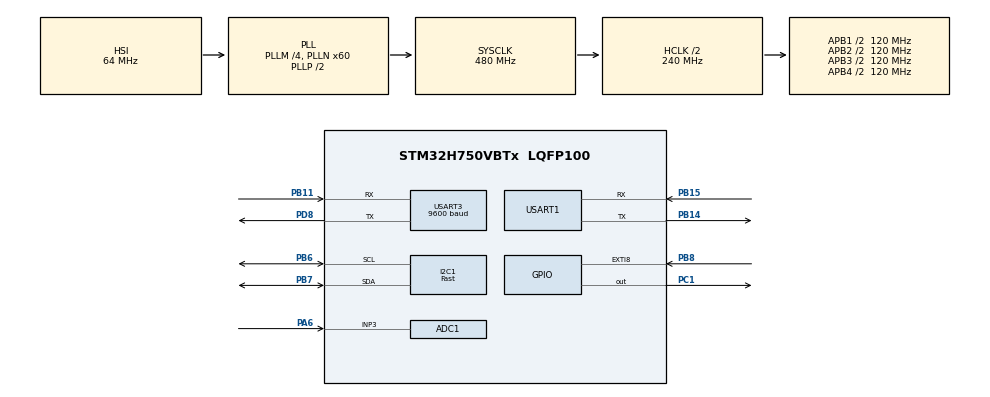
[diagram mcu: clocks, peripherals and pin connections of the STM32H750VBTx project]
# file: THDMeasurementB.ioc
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ADC1.Channel-0\#ChannelRegularConversion=ADC_CHANNEL_3
ADC1.ContinuousConvMode=DISABLE
ADC1.ConversionDataManagement=ADC_CONVERSIONDATA_DMA_CIRCULAR
ADC1.ExternalTrigConv=ADC_EXTERNALTRIG_T2_TRGO
ADC1.NbrOfConversionFlag=1
ADC1.OffsetNumber-0\#ChannelRegularConversion=ADC_OFFSET_NONE
ADC1.OffsetSignedSaturation-0\#ChannelRegularConversion=DISABLE
ADC1.OversamplingMode=DISABLE
ADC1.Rank-0\#ChannelRegularConversion=1
ADC1.Ratio=1
ADC1.Resolution=ADC_RESOLUTION_14B
ADC1.SamplingTime-0\#ChannelRegularConversion=ADC_SAMPLETIME_1CYCLE_5
ADC1.master=1
CORTEX_M7.default_mode_Activation=1
Dma.ADC1.2.Direction=DMA_PERIPH_TO_MEMORY
Dma.ADC1.2.EventEnable=DISABLE
Dma.ADC1.2.FIFOMode=DMA_FIFOMODE_DISABLE
Dma.ADC1.2.Instance=DMA1_Stream2
Dma.ADC1.2.MemDataAlignment=DMA_MDATAALIGN_HALFWORD
Dma.ADC1.2.MemInc=DMA_MINC_ENABLE
Dma.ADC1.2.Mode=DMA_CIRCULAR
Dma.ADC1.2.PeriphDataAlignment=DMA_PDATAALIGN_HALFWORD
Dma.ADC1.2.PeriphInc=DMA_PINC_DISABLE
Dma.ADC1.2.Polarity=HAL_DMAMUX_REQ_GEN_RISING
Dma.ADC1.2.Priority=DMA_PRIORITY_LOW
Dma.ADC1.2.RequestNumber=1
Dma.ADC1.2.SignalID=NONE
Dma.ADC1.2.SyncEnable=DISABLE
Dma.ADC1.2.SyncPolarity=HAL_DMAMUX_SYNC_NO_EVENT
Dma.ADC1.2.SyncRequestNumber=1
Dma.ADC1.2.SyncSignalID=NONE
Dma.Request0=USART3_TX
Dma.Request1=USART3_RX
Dma.Request2=ADC1
Dma.Request3=USART1_TX
Dma.USART1_TX.3.Direction=DMA_MEMORY_TO_PERIPH
Dma.USART1_TX.3.EventEnable=DISABLE
Dma.USART1_TX.3.FIFOMode=DMA_FIFOMODE_DISABLE
Dma.USART1_TX.3.Instance=DMA1_Stream3
Dma.USART1_TX.3.MemDataAlignment=DMA_MDATAALIGN_BYTE
Dma.USART1_TX.3.MemInc=DMA_MINC_ENABLE
Dma.USART1_TX.3.Mode=DMA_NORMAL
Dma.USART1_TX.3.PeriphDataAlignment=DMA_PDATAALIGN_BYTE
Dma.USART1_TX.3.PeriphInc=DMA_PINC_DISABLE
Dma.USART1_TX.3.Polarity=HAL_DMAMUX_REQ_GEN_RISING
Dma.USART1_TX.3.Priority=DMA_PRIORITY_LOW
Dma.USART1_TX.3.RequestNumber=1
Dma.USART1_TX.3.SignalID=NONE
Dma.USART1_TX.3.SyncEnable=DISABLE
Dma.USART1_TX.3.SyncPolarity=HAL_DMAMUX_SYNC_NO_EVENT
Dma.USART1_TX.3.SyncRequestNumber=1
Dma.USART1_TX.3.SyncSignalID=NONE
Dma.USART3_RX.1.Direction=DMA_PERIPH_TO_MEMORY
Dma.USART3_RX.1.EventEnable=DISABLE
Dma.USART3_RX.1.FIFOMode=DMA_FIFOMODE_DISABLE
Dma.USART3_RX.1.Instance=DMA1_Stream1
Dma.USART3_RX.1.MemDataAlignment=DMA_MDATAALIGN_BYTE
Dma.USART3_RX.1.MemInc=DMA_MINC_ENABLE
Dma.USART3_RX.1.Mode=DMA_CIRCULAR
Dma.USART3_RX.1.PeriphDataAlignment=DMA_PDATAALIGN_BYTE
Dma.USART3_RX.1.PeriphInc=DMA_PINC_DISABLE
Dma.USART3_RX.1.Polarity=HAL_DMAMUX_REQ_GEN_RISING
Dma.USART3_RX.1.Priority=DMA_PRIORITY_LOW
Dma.USART3_RX.1.RequestNumber=1
Dma.USART3_RX.1.SignalID=NONE
Dma.USART3_RX.1.SyncEnable=DISABLE
Dma.USART3_RX.1.SyncPolarity=HAL_DMAMUX_SYNC_NO_EVENT
Dma.USART3_RX.1.SyncRequestNumber=1
Dma.USART3_RX.1.SyncSignalID=NONE
Dma.USART3_TX.0.Direction=DMA_MEMORY_TO_PERIPH
Dma.USART3_TX.0.EventEnable=DISABLE
Dma.USART3_TX.0.FIFOMode=DMA_FIFOMODE_DISABLE
Dma.USART3_TX.0.Instance=DMA1_Stream0
Dma.USART3_TX.0.MemDataAlignment=DMA_MDATAALIGN_BYTE
Dma.USART3_TX.0.MemInc=DMA_MINC_ENABLE
Dma.USART3_TX.0.Mode=DMA_CIRCULAR
Dma.USART3_TX.0.PeriphDataAlignment=DMA_PDATAALIGN_BYTE
Dma.USART3_TX.0.PeriphInc=DMA_PINC_DISABLE
Dma.USART3_TX.0.Polarity=HAL_DMAMUX_REQ_GEN_RISING
Dma.USART3_TX.0.Priority=DMA_PRIORITY_LOW
Dma.USART3_TX.0.RequestNumber=1
Dma.USART3_TX.0.SignalID=NONE
Dma.USART3_TX.0.SyncEnable=DISABLE
Dma.USART3_TX.0.SyncPolarity=HAL_DMAMUX_SYNC_NO_EVENT
Dma.USART3_TX.0.SyncRequestNumber=1
Dma.USART3_TX.0.SyncSignalID=NONE
I2C1.I2C_Speed_Mode=I2C_Fast
I2C1.Timing=0x00B03FDB
Mcu.Family=STM32H7
Mcu.Name=STM32H750VBTx
Mcu.Package=LQFP100
NVIC.ADC_IRQn=true\:0\:0\:false\:false\:true\:true\:true\:true
NVIC.DMA1_Stream0_IRQn=true\:0\:0\:false\:false\:true\:false\:true\:true
NVIC.DMA1_Stream1_IRQn=true\:0\:0\:false\:false\:true\:false\:true\:true
NVIC.DMA1_Stream2_IRQn=true\:0\:0\:false\:false\:true\:false\:true\:true
NVIC.DMA1_Stream3_IRQn=true\:0\:0\:false\:false\:true\:false\:true\:true
NVIC.EXTI9_5_IRQn=true\:0\:0\:false\:false\:true\:true\:true\:true
NVIC.PriorityGroup=NVIC_PRIORITYGROUP_4
NVIC.TIM3_IRQn=true\:0\:0\:false\:false\:true\:true\:true\:true
NVIC.TIM7_IRQn=true\:0\:0\:false\:false\:true\:true\:true\:true
NVIC.USART1_IRQn=true\:0\:0\:false\:false\:true\:true\:true\:true
NVIC.USART3_IRQn=true\:0\:0\:false\:false\:true\:true\:true\:true
PA13\ (JTMS/SWDIO).Mode=Serial_Wire
PA13\ (JTMS/SWDIO).Signal=DEBUG_JTMS-SWDIO
PA14\ (JTCK/SWCLK).Mode=Serial_Wire
PA14\ (JTCK/SWCLK).Signal=DEBUG_JTCK-SWCLK
PA6.Signal=ADCx_INP3
PB11.Mode=Asynchronous
PB11.Signal=USART3_RX
PB14.Mode=Asynchronous
PB14.Signal=USART1_TX
PB15.Mode=Asynchronous
PB15.Signal=USART1_RX
PB6.Mode=I2C
PB6.Signal=I2C1_SCL
PB7.Mode=I2C
PB7.Signal=I2C1_SDA
PB8.GPIO_ModeDefaultEXTI=GPIO_MODE_IT_FALLING
PB8.GPIO_PuPd=GPIO_PULLUP
PB8.Signal=GPXTI8
PC1.GPIO_ModeDefaultOutputPP=GPIO_MODE_OUTPUT_OD
PC1.GPIO_PuPd=GPIO_NOPULL
PC1.PinState=GPIO_PIN_RESET
PC1.Signal=GPIO_Output
PD8.Mode=Asynchronous
PD8.Signal=USART3_TX
PH0-OSC_IN\ (PH0).Mode=HSE-External-Oscillator
PH0-OSC_IN\ (PH0).Signal=RCC_OSC_IN
PH1-OSC_OUT\ (PH1).Mode=HSE-External-Oscillator
PH1-OSC_OUT\ (PH1).Signal=RCC_OSC_OUT
ProjectManager.HeapSize=0x400
ProjectManager.StackSize=0x1000
ProjectManager.TargetToolchain=MDK-ARM V5.32
RCC.ADCFreq_Value=40000000
RCC.APB1Freq_Value=120000000
RCC.APB2Freq_Value=120000000
RCC.APB3Freq_Value=120000000
RCC.APB4Freq_Value=120000000
RCC.CortexFreq_Value=480000000
RCC.D1PPRE=RCC_APB3_DIV2
RCC.D2PPRE1=RCC_APB1_DIV2
RCC.D2PPRE2=RCC_APB2_DIV2
RCC.D3PPRE=RCC_APB4_DIV2
RCC.DIVM1=4
RCC.DIVM2=4
RCC.DIVN1=60
RCC.DIVN2=10
RCC.DIVP2=4
RCC.HCLKFreq_Value=240000000
RCC.HPRE=RCC_HCLK_DIV2
RCC.HSE_VALUE=25000000
RCC.PLL2FRACN=0
RCC.PLL3FRACN=0
RCC.PLLFRACN=0
RCC.SYSCLKFreq_VALUE=480000000
RCC.SYSCLKSource=RCC_SYSCLKSOURCE_PLLCLK
RCC.USBFreq_Value=480000000
SH.ADCx_INP3.0=ADC1_INP3,IN3-Single-Ended
TIM2.AutoReloadPreload=TIM_AUTORELOAD_PRELOAD_ENABLE
TIM2.Channel-Output\ Compare1\ No\ Output=TIM_CHANNEL_1
TIM2.Period=120-1
TIM2.Prescaler=0
TIM2.TIM_MasterOutputTrigger=TIM_TRGO_UPDATE
TIM3.AutoReloadPreload=TIM_AUTORELOAD_PRELOAD_ENABLE
TIM3.Period=25000
TIM3.Prescaler=240-1
TIM7.Period=20000-1
TIM7.Prescaler=240-1
USART1.VirtualMode-Asynchronous=VM_ASYNC
USART3.BaudRate=9600
USART3.VirtualMode-Asynchronous=VM_ASYNC
VP_MEMORYMAP_VS_MEMORYMAP.Mode=CurAppReg
VP_TIM2_VS_ClockSourceINT.Mode=Internal
VP_TIM2_VS_no_output1.Mode=Output Compare1 No Output
VP_TIM3_VS_ClockSourceINT.Mode=Internal
VP_TIM7_VS_ClockSourceINT.Mode=Enable_Timer
board=custom

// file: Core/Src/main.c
/* USER CODE BEGIN Header */
/**
  ******************************************************************************
  * @file           : main.c
  * @brief          : Main program body
  ******************************************************************************
  * @attention
  *
  * Copyright (c) 2025 STMicroelectronics.
  * All rights reserved.
  *
  * This software is licensed under terms that can be found in the LICENSE file
  * in the root directory of this software component.
  * If no LICENSE file comes with this software, it is provided AS-IS.
  *
  ******************************************************************************
  */
/* USER CODE END Header */
#include "main.h"
#include "adc.h"
#include "dma.h"
#include "i2c.h"
#include "tim.h"
#include "usart.h"
#include "gpio.h"

/* USER CODE BEGIN Includes */
#include "arm_math.h"
#include "arm_const_structs.h"
#include "string.h"
#include "stdio.h"
#include "valuepack.h"
#include "stdint.h"
#include "oled.h"
#include "stdlib.h"
#include <stdint.h>
/* USER CODE END Includes */

/* USER CODE BEGIN PTD */
#define LEN 4096
float SAMPLE_RATE = 2000000;
#define M_PI 3.14159265358979323846f

#define MAX_FFT_POINTS 4096
__attribute__((aligned(8))) static float32_t fft_input[2 * MAX_FFT_POINTS];
__attribute__((aligned(8))) static float32_t power_spectrum[MAX_FFT_POINTS];
/* USER CODE END PTD */

/* USER CODE BEGIN PV */
uint16_t period = 25;
uint16_t adc_buf[LEN];
uint16_t adc_test1[LEN];
uint16_t adc_test2[LEN];
uint16_t adc_test3[LEN];
float windowed_buf[LEN];

//float fft_input[LEN * 2];
float fft_mag[LEN]; //????
arm_rfft_fast_instance_f32 fft_instance;

float THD = 0.0f;				//???
float adc_norm[LEN]; 			//?????
uint32_t fund_index;			//????
float fund_freq;
float32_t fund_value;			//????
float harm_power = 0;			//???

volatile uint8_t adc_ready = 0;	//???
float unify_mag[5];
uint8_t send_flag = 0;
uint16_t adc_sent[25];
uint8_t SampleMode = 0;

/* USER CODE END PV */

void SystemClock_Config(void);
static void MPU_Config(void);

/* USER CODE BEGIN 0 */

//串口重定向
int fputc(int ch,FILE *f)
{
HAL_UART_Transmit(&huart1,(uint8_t *)&ch,1,HAL_MAX_DELAY);
return ch;
}
int fgetc(FILE *f)
{
uint8_t ch;
HAL_UART_Receive( &huart1,(uint8_t*)&ch,1, HAL_MAX_DELAY );
return ch;
}
//----------平顶窗------------
float a0 = 1;
float a1 = 1.93;
float a2 = 1.29;
float a3 = 0.388;
float a4 = 0.028;
float windowing[LEN];
void genarate_windowing(){
	for(int i = 0; i < LEN; i++) {
    windowing[i] = a0
                 - a1 * cosf(2 * PI * i / (LEN - 1))
                 + a2 * cosf(4 * PI * i / (LEN - 1))
                 - a3 * cosf(6 * PI * i / (LEN - 1))
				 + a4 * cosf(8 * PI * i / (LEN - 1));
	}
}
//捕捉波形函数
// 找第一个峰值索引
uint16_t start;
int find_first_peak(float *buf, int len) {
    for(int i=1;i<len-1;i++){
        if(buf[i] > buf[i-1] && buf[i] > buf[i+1]){
            return i;
        }
    }
    return 0; // 没找到峰值就从0开始
}

//能量重心法
float32_t freq_est;
float prev_freq_est;
float32_t amp_est;
void ImprovedFFT_EnergyCentroid(uint16_t *adc_data, uint32_t fs, uint16_t N,
                               float32_t *freq_est, float32_t *amp_est)
{
//    float32_t sum = 0;
//    for (uint16_t i = 0; i < N; i++) {
//        // ADC转换 (12-bit ADC, 3.3V参考电压)
//        float32_t sample = adc_data[i] * 3.3f / 4096.0f;
//        sum += sample;
//        fft_input[2*i] = sample;  // 实部
//        fft_input[2*i+1] = 0;     // 虚部
//    }
//    // 去除直流偏置
//    float32_t mean = sum / N;
//    for (uint16_t i = 0; i < N; i++) {
//        fft_input[2*i] -= mean;
//    }
    // 1. 时域加汉宁窗
    for (uint16_t i = 0; i < N; i++) {
        // 汉宁窗函数: w(n) = 0.5 - 0.5*cos(2πn/N)
        float32_t window = 0.5f - 0.5f * arm_cos_f32(2 * PI * i / (N-1));
        fft_input[2*i] = fft_input[2*i] * window;  // 实部
        fft_input[2*i+1] = 0;              // 虚部
    }
    // 2. 执行FFT
    arm_cfft_instance_f32 cfft_inst;
    arm_cfft_init_f32(&cfft_inst, N);
    arm_cfft_f32(&cfft_inst, fft_input, 0, 1);
    // 3. 计算功率谱 (|X(k)|²)
    for (uint16_t k = 0; k < N; k++) {
        float32_t real = fft_input[2*k];
        float32_t imag = fft_input[2*k+1];
        power_spectrum[k] = real*real + imag*imag;
    }
    // 4. 寻找主瓣峰值位置 (只搜索正频率)
    uint32_t l0 = 1;
    float32_t max_power = power_spectrum[1];
    for (uint16_t k = 2; k < N/2; k++) {
        if (power_spectrum[k] > max_power) {
            max_power = power_spectrum[k];
            l0 = k;
        }
    }
    // 5. 计算矩形窗FFT（用于相位差计算）
    __attribute__((aligned(8))) static float32_t rect_fft[2 * MAX_FFT_POINTS];
    for (uint16_t i = 0; i < N; i++) {
        float32_t sample = adc_data[i] * 3.3f / 4096.0f;
        rect_fft[2*i] = sample;  // 已去直流
        rect_fft[2*i+1] = 0;
    }
    arm_cfft_f32(&cfft_inst, rect_fft, 0, 1);
//——————————————————————————————————————————————————————————————————//

    // 6. 计算相位差指标 (式16)
    float32_t X_l0_real = rect_fft[2*l0];
    float32_t X_l0_imag = rect_fft[2*l0+1];

    // 安全边界处理
    uint16_t idx_m1 = (l0 == 0) ? N-1 : l0-1;
    uint16_t idx_p1 = (l0 == N-1) ? 0 : l0+1;

    // R(-1) = Re[X_rect(l0-1) * conj(X_rect(l0))]
    float32_t X_m1_real = rect_fft[2*idx_m1];
    float32_t X_m1_imag = rect_fft[2*idx_m1+1];
    float32_t R_m1 = X_m1_real * X_l0_real + X_m1_imag * X_l0_imag;  // Re[AB*]

    // R(+1) = Re[X_rect(l0+1) * conj(X_rect(l0))]
    float32_t X_p1_real = rect_fft[2*idx_p1];
    float32_t X_p1_imag = rect_fft[2*idx_p1+1];
    float32_t R_p1 = X_p1_real * X_l0_real + X_p1_imag * X_l0_imag;

    // 7. 计算频偏δ (式18)
    float32_t delta;
    uint16_t idx_m2 = (l0 < 2) ? (N + l0 - 2) % N : l0 - 2;
    uint16_t idx_p2 = (l0 > N-3) ? (l0 + 2) % N : l0 + 2;

    if (R_p1 < 0 && R_m1 > 0) {
        // 次大谱线在右侧 (式4)
        float32_t Y0 = power_spectrum[l0];
        float32_t Ym1 = power_spectrum[idx_m1];
        float32_t Yp1 = power_spectrum[idx_p1];
        float32_t Yp2 = power_spectrum[idx_p2];

        delta = (Yp1 + 2*Yp2 - Ym1) / (Ym1 + Y0 + Yp1 + Yp2);
    }
    else if (R_p1 > 0 && R_m1 < 0) {
        // 次大谱线在左侧 (式5)
        float32_t Y0 = power_spectrum[l0];
        float32_t Ym1 = power_spectrum[idx_m1];
        float32_t Ym2 = power_spectrum[idx_m2];
        float32_t Yp1 = power_spectrum[idx_p1];

        delta = (Yp1 - Ym1 - 2*Ym2) / (Ym2 + Ym1 + Y0 + Yp1);
    }
    else {
        // 取两种估计的平均值 (论文式18)
        float32_t Y0 = power_spectrum[l0];
        float32_t Ym1 = power_spectrum[idx_m1];
        float32_t Ym2 = power_spectrum[idx_m2];
        float32_t Yp1 = power_spectrum[idx_p1];
        float32_t Yp2 = power_spectrum[idx_p2];

        float32_t delta1 = (Yp1 + 2*Yp2 - Ym1) / (Ym1 + Y0 + Yp1 + Yp2);
        float32_t delta2 = (Yp1 - Ym1 - 2*Ym2) / (Ym2 + Ym1 + Y0 + Yp1);
        delta = 0.5f * (delta1 + delta2);
    }

    // 8. 频率估计 f = (l0 + δ) * (fs / N)
    *freq_est = (l0 + delta) * (fs / (float32_t)N);

    // 9. 精确幅值校准 (汉宁窗恢复系数)
    // |A| = 2 * sqrt(|X(k)|²) / (0.5 * N * S_w)
    // 汉宁窗相干增益 S_w = 0.5
    *amp_est = 2.0f * sqrtf(max_power) / (0.5f * N * 0.5f);
}

//ADC回调
void HAL_ADC_ConvCpltCallback(ADC_HandleTypeDef *hadc){
	 if(hadc->Instance == ADC1 )
		{
			HAL_ADC_Stop_DMA(&hadc1);
			adc_ready = 1;
		}
}
//按键回调
void HAL_GPIO_EXTI_Callback(uint16_t GPIO_Pin){
	if(GPIO_Pin == GPIO_PIN_8){
		HAL_TIM_Base_Start_IT(&htim7);
	}
}

//定时器蓝牙显示
unsigned char tx_buffer[25];
int f =0;
void HAL_TIM_PeriodElapsedCallback(TIM_HandleTypeDef *htim)
{
    if (htim->Instance == TIM3) // 判断是哪个定时器
    {
		if(send_flag == 1){
			startValuePack(tx_buffer);
			putShort(adc_sent[f]);
			putFloat(unify_mag[1]);
			putFloat(unify_mag[2]);
			putFloat(unify_mag[3]);
			putFloat(unify_mag[4]);
			putFloat(THD);
			putFloat(freq_est);
			f++;
			if(f >= period-1) {
				f = 0;
				send_flag = 0;
			}
			HAL_UART_Transmit(&huart3, tx_buffer, endValuePack(), HAL_MAX_DELAY);
		}
    }
	if (htim->Instance == TIM7) // 按键消抖20Ms
    {
		HAL_TIM_Base_Stop_IT(&htim7);
		start = find_first_peak((float*)adc_buf, LEN);
		for(int i = 0; i<period; i++){
			adc_sent[i] = adc_buf[start + i];
		}
		for(int i = 0; i<period; i++){
			printf("%d\r\n", adc_sent[i]);
		}
		send_flag = 1;
	}
}

/* USER CODE END 0 */

int main(void)
{

  /* MPU Configuration--------------------------------------------------------*/
  MPU_Config();

  /* MCU Configuration--------------------------------------------------------*/

  /* Reset of all peripherals, Initializes the Flash interface and the Systick. */
  HAL_Init();

  /* Configure the system clock */
  SystemClock_Config();

  /* Initialize all configured peripherals */
  MX_GPIO_Init();
  MX_DMA_Init();
  MX_ADC1_Init();
  MX_I2C1_Init();
  MX_TIM2_Init();
  MX_USART1_UART_Init();
  MX_USART3_UART_Init();
  MX_TIM3_Init();
  MX_TIM7_Init();
  /* USER CODE BEGIN 2 */
	HAL_TIM_Base_Start_IT(&htim3);
	HAL_ADC_Start_DMA(&hadc1, (uint32_t*)adc_buf, LEN);
	HAL_TIM_Base_Start(&htim2);

	unify_mag[0] = 1.0f;
	genarate_windowing();
	HAL_Delay(20);

  /* USER CODE END 2 */

  /* Infinite loop */
  /* USER CODE BEGIN WHILE */
  while (1)
  {
		if(adc_ready){
		adc_ready = 0;

		//一个周期采样period个点
		start = find_first_peak((float*)adc_buf, LEN);
		for(int i = 0; i<period; i++){
			adc_sent[i] = adc_buf[start + i];
		}

//归一化，去直流对于这个项目不适用， 更加不准
		//增幅
		for(int i = 0; i<LEN; i++){
			adc_norm[i] = adc_buf[i]*15;
		}

		//加窗
		for(int i = 0; i < LEN; i++) {
			float w = 0.5f * (1.0f - cosf(2.0f * PI * i / (LEN - 1)));//汉宁窗
			windowed_buf[i] = adc_norm[i] * w;
		}

		// fft填数
		for (int i = 0; i < LEN; i++) {
			fft_input[2*i]   = windowed_buf[i];  //
			fft_input[2*i+1] = 0.0f;         //
		}
		//汉宁窗fft计算
		const arm_cfft_instance_f32 *cfft_struct = &arm_cfft_sR_f32_len4096;
		arm_cfft_f32(cfft_struct, fft_input, 0, 1);
		arm_cmplx_mag_f32(fft_input, fft_mag, LEN);

		for(int i =0; i<LEN; i++){
			adc_test3[i] = fft_mag[i];
		}
		//寻找主瓣峰值位置
//		int start_bin = (int)((1000.0f * LEN) / SAMPLE_RATE);
//		if (start_bin < 1) start_bin = 1;
//		int end_bin   = LEN/2;
		fund_value = 0;
		fund_index = 1;
		for (int k = 2; k < LEN/2; k++) {
				if (fft_mag[k] > fund_value){
					fund_value = fft_mag[k];
					fund_index = k;
				}
		}

		// 5. 计算矩形窗FFT（用于相位差计算）
		__attribute__((aligned(8))) static float32_t rect_fft[2 * MAX_FFT_POINTS];
		for (uint16_t i = 0; i < LEN; i++) {
			rect_fft[2*i] = adc_buf[i];
			rect_fft[2*i+1] = 0;
		}
		arm_cfft_f32(cfft_struct, rect_fft, 0, 1);

//		// 抛物线插值
//		float alpha = fft_mag[fund_index - 1];
//		float beta  = fft_mag[fund_index];
//		float gamma = fft_mag[fund_index + 1];
//		float delta = 0.5f * (alpha - gamma) / (alpha - 2*beta + gamma);
//		float fund_bin = fund_index + delta;
//		fund_freq = fund_bin * SAMPLE_RATE / LEN;

		// 6. 计算相位差指标 (式16)
		float32_t X_l0_real = rect_fft[2*fund_index];
		float32_t X_l0_imag = rect_fft[2*fund_index+1];

		// 安全边界处理
		uint16_t idx_m1 = (fund_index == 0) ? LEN-1 : fund_index-1;
		uint16_t idx_p1 = (fund_index == LEN-1) ? 0 : fund_index+1;

		// R(-1) = Re[X_rect(l0-1) * conj(X_rect(l0))]
		float32_t X_m1_real = rect_fft[2*idx_m1];
		float32_t X_m1_imag = rect_fft[2*idx_m1+1];
		float32_t R_m1 = X_m1_real * X_l0_real + X_m1_imag * X_l0_imag;  // Re[AB*]

		// R(+1) = Re[X_rect(fund_index+1) * conj(X_rect(fund_index))]
		float32_t X_p1_real = rect_fft[2*idx_p1];
		float32_t X_p1_imag = rect_fft[2*idx_p1+1];
		float32_t R_p1 = X_p1_real * X_l0_real + X_p1_imag * X_l0_imag;

		// 7. 计算频偏δ (式18)
		float32_t delta;
		uint16_t idx_m2 = (fund_index < 2) ? (LEN + fund_index - 2) % LEN : fund_index - 2;
		uint16_t idx_p2 = (fund_index > LEN-3) ? (fund_index + 2) % LEN : fund_index + 2;

		if (R_p1 < 0 && R_m1 > 0) {
			// 次大谱线在右侧 (式4)
			float32_t Y0 = fft_mag[fund_index];
			float32_t Ym1 = fft_mag[idx_m1];
			float32_t Yp1 = fft_mag[idx_p1];
			float32_t Yp2 = fft_mag[idx_p2];

			delta = (Yp1 + 2*Yp2 - Ym1) / (Ym1 + Y0 + Yp1 + Yp2);
		}
		else if (R_p1 > 0 && R_m1 < 0) {
			// 次大谱线在左侧 (式5)
			float32_t Y0 = fft_mag[fund_index];
			float32_t Ym1 = fft_mag[idx_m1];
			float32_t Ym2 = fft_mag[idx_m2];
			float32_t Yp1 = fft_mag[idx_p1];

			delta = (Yp1 - Ym1 - 2*Ym2) / (Ym2 + Ym1 + Y0 + Yp1);
		}
		else {
			// 取两种估计的平均值 (论文式18)
			float32_t Y0 = fft_mag[fund_index];
			float32_t Ym1 = fft_mag[idx_m1];
			float32_t Ym2 = fft_mag[idx_m2];
			float32_t Yp1 = fft_mag[idx_p1];
			float32_t Yp2 = fft_mag[idx_p2];

			float32_t delta1 = (Yp1 + 2*Yp2 - Ym1) / (Ym1 + Y0 + Yp1 + Yp2);
			float32_t delta2 = (Yp1 - Ym1 - 2*Ym2) / (Ym2 + Ym1 + Y0 + Yp1);
			delta = 0.5f * (delta1 + delta2);
		}

		// 8. 频率估计 f = (fund_index + δ) * (fs / N)
		freq_est = (fund_index + delta) * (SAMPLE_RATE / (float32_t)LEN);

		// 9. 精确幅值校准 (汉宁窗恢复系数)
		// |A| = 2 * sqrt(|X(k)|²) / (0.5 * N * S_w)
		// 汉宁窗相干增益 S_w = 0.5
		amp_est = 2.0f * sqrtf(fund_value) / (0.5f * LEN * 0.5f);

		if(SampleMode == 1){
			freq_est *=26;
		}

		//动态改变采样率
		if(freq_est > (1000-100)){
			__HAL_TIM_DISABLE(&htim2);
			if(freq_est <=100000){
				period = 25;
				SAMPLE_RATE = (uint32_t)(freq_est * 25);//较低频率下，过采样一个周期采样25个点
				__HAL_TIM_SET_AUTORELOAD(&htim2, 240000000/SAMPLE_RATE -1);
				SampleMode = 0;
			}

			else{
				period = 25;
				if(fabs(prev_freq_est - freq_est)/prev_freq_est > 0.05f){
					SAMPLE_RATE = freq_est*25/26;
				}
				prev_freq_est = freq_est;

				__HAL_TIM_SET_AUTORELOAD(&htim2, 240000000/SAMPLE_RATE -1);
				SampleMode = 1;
			}
			__HAL_TIM_ENABLE(&htim2);
		}
		// 能量积分（±2 点）
		float energy = 0;
		for(int k = fund_index-2; k <= fund_index+2; k++) {
			if(k > 0 && k < LEN/2) {
				energy += fft_mag[k] * fft_mag[k];
			}
		}
		float fund_energy = sqrtf(energy);

		//找谐波,抛物线插值修正
		harm_power = 0;
		for(int h = 2; h <= 5; h++){
			float harm_bin_est = h * fund_index;
			float search_min = harm_bin_est -5;
			float search_max = harm_bin_est +5;

			float local_max = 0;
			int idx_max = harm_bin_est;

			for(int k = search_min; k <= search_max; k++){
				if(k > 0 && k < LEN/2 && fft_mag[k] > local_max){
					local_max = fft_mag[k];
					idx_max = k;
				}
			}

			float alpha = fft_mag[idx_max-1];
			float beta  = fft_mag[idx_max];
			float gamma = fft_mag[idx_max+1];
			float delta = 0.5f * (alpha - gamma) / (alpha - 2*beta + gamma);
			float harm_bin = idx_max + delta;
			float freq_est = harm_bin * SAMPLE_RATE / LEN;
			float mag_est  = beta - 0.25f * (alpha - gamma) * delta;

			//能量积分
			 energy = 0;
            for(int k = idx_max-2; k <= idx_max+2; k++) {
                if(k > 0 && k < LEN / 2) {
                    energy += fft_mag[k] * fft_mag[k];
                }
            }
            float harm_amp = sqrtf(energy);

			//归一化
			unify_mag[h-1] = harm_amp / fund_energy;
			//功率累计
			harm_power += harm_amp * harm_amp;
		}
		THD = sqrtf(harm_power) / fund_energy *100.0f;

//		for(int i = 0; i<LEN; i++){
//			printf("%d\r\n", adc_test3[i]);
//		}
//		for(int i = 0; i<LEN/2; i++){
//			printf("%d\r\n", adc_test1[i]);
//		}
		HAL_ADC_Start_DMA(&hadc1, (uint32_t*)adc_buf, LEN);
	}
    /* USER CODE END WHILE */

  }
}

void SystemClock_Config(void)
{
  RCC_OscInitTypeDef RCC_OscInitStruct = {0};
  RCC_ClkInitTypeDef RCC_ClkInitStruct = {0};

  /** Supply configuration update enable
  */
  HAL_PWREx_ConfigSupply(PWR_LDO_SUPPLY);

  /** Configure the main internal regulator output voltage
  */
  __HAL_PWR_VOLTAGESCALING_CONFIG(PWR_REGULATOR_VOLTAGE_SCALE0);

  while(!__HAL_PWR_GET_FLAG(PWR_FLAG_VOSRDY)) {}

  /** Initializes the RCC Oscillators according to the specified parameters
  * in the RCC_OscInitTypeDef structure.
  */
  RCC_OscInitStruct.OscillatorType = RCC_OSCILLATORTYPE_HSI;
  RCC_OscInitStruct.HSIState = RCC_HSI_DIV1;
  RCC_OscInitStruct.HSICalibrationValue = RCC_HSICALIBRATION_DEFAULT;
  RCC_OscInitStruct.PLL.PLLState = RCC_PLL_ON;
  RCC_OscInitStruct.PLL.PLLSource = RCC_PLLSOURCE_HSI;
  RCC_OscInitStruct.PLL.PLLM = 4;
  RCC_OscInitStruct.PLL.PLLN = 60;
  RCC_OscInitStruct.PLL.PLLP = 2;
  RCC_OscInitStruct.PLL.PLLQ = 2;
  RCC_OscInitStruct.PLL.PLLR = 2;
  RCC_OscInitStruct.PLL.PLLRGE = RCC_PLL1VCIRANGE_3;
  RCC_OscInitStruct.PLL.PLLVCOSEL = RCC_PLL1VCOWIDE;
  RCC_OscInitStruct.PLL.PLLFRACN = 0;
  if (HAL_RCC_OscConfig(&RCC_OscInitStruct) != HAL_OK)
  {
    Error_Handler();
  }

  /** Initializes the CPU, AHB and APB buses clocks
  */
  RCC_ClkInitStruct.ClockType = RCC_CLOCKTYPE_HCLK|RCC_CLOCKTYPE_SYSCLK
                              |RCC_CLOCKTYPE_PCLK1|RCC_CLOCKTYPE_PCLK2
                              |RCC_CLOCKTYPE_D3PCLK1|RCC_CLOCKTYPE_D1PCLK1;
  RCC_ClkInitStruct.SYSCLKSource = RCC_SYSCLKSOURCE_PLLCLK;
  RCC_ClkInitStruct.SYSCLKDivider = RCC_SYSCLK_DIV1;
  RCC_ClkInitStruct.AHBCLKDivider = RCC_HCLK_DIV2;
  RCC_ClkInitStruct.APB3CLKDivider = RCC_APB3_DIV2;
  RCC_ClkInitStruct.APB1CLKDivider = RCC_APB1_DIV2;
  RCC_ClkInitStruct.APB2CLKDivider = RCC_APB2_DIV2;
  RCC_ClkInitStruct.APB4CLKDivider = RCC_APB4_DIV2;

  if (HAL_RCC_ClockConfig(&RCC_ClkInitStruct, FLASH_LATENCY_4) != HAL_OK)
  {
    Error_Handler();
  }
}

 /* MPU Configuration */

void MPU_Config(void)
{
  MPU_Region_InitTypeDef MPU_InitStruct = {0};

  /* Disables the MPU */
  HAL_MPU_Disable();

  /** Initializes and configures the Region and the memory to be protected
  */
  MPU_InitStruct.Enable = MPU_REGION_ENABLE;
  MPU_InitStruct.Number = MPU_REGION_NUMBER0;
  MPU_InitStruct.BaseAddress = 0x0;
  MPU_InitStruct.Size = MPU_REGION_SIZE_4GB;
  MPU_InitStruct.SubRegionDisable = 0x87;
  MPU_InitStruct.TypeExtField = MPU_TEX_LEVEL0;
  MPU_InitStruct.AccessPermission = MPU_REGION_NO_ACCESS;
  MPU_InitStruct.DisableExec = MPU_INSTRUCTION_ACCESS_DISABLE;
  MPU_InitStruct.IsShareable = MPU_ACCESS_SHAREABLE;
  MPU_InitStruct.IsCacheable = MPU_ACCESS_NOT_CACHEABLE;
  MPU_InitStruct.IsBufferable = MPU_ACCESS_NOT_BUFFERABLE;

  HAL_MPU_ConfigRegion(&MPU_InitStruct);
  /* Enables the MPU */
  HAL_MPU_Enable(MPU_PRIVILEGED_DEFAULT);

}

void Error_Handler(void)
{
  __disable_irq();
  while (1)
  {
  }
}
